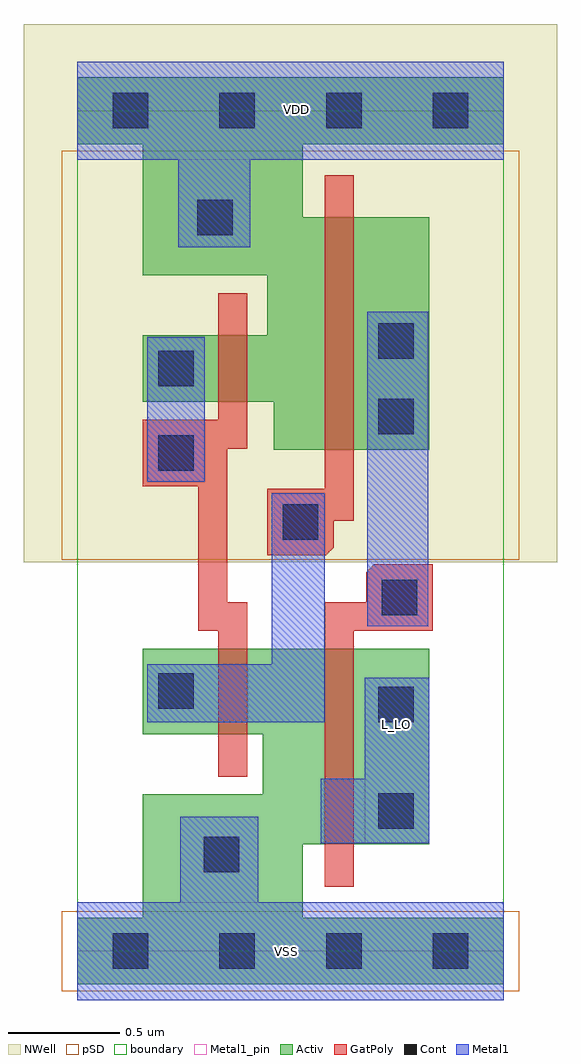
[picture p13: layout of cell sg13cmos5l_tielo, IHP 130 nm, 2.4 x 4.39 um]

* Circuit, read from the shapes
.subckt sg13cmos5l_tielo L_LO VDD VSS
XM1 VSS n1 n2 VSS sg13_lv_nmos w=0.385u l=0.13u
XM2 L_LO n3 VSS VSS sg13_lv_nmos w=0.88u l=0.13u
XM3 VDD n1 n1 VDD sg13_lv_pmos w=0.3u l=0.13u
XM4 n3 n2 VDD VDD sg13_lv_pmos w=1.045u l=0.13u
.ends

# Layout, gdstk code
import gdstk
lib = gdstk.Library(unit=1e-6, precision=1e-09)
def R(c, l, rs):  # rectangles x0, y0, x1, y1
    for r in rs: c.add(gdstk.rectangle(r[:2], r[2:], *l))
def P(c, l, *ps):  # polygons
    for p in ps: c.add(gdstk.Polygon(p, *l))
Activ = (1, 0)
GatPoly = (5, 0)
Cont = (6, 0)
Metal1 = (8, 0)
Metal1_pin = (8, 2)
pSD = (14, 0)
NWell = (31, 0)
boundary = (189, 4)

sg13cmos5l_tielo = lib.new_cell('sg13cmos5l_tielo')
P(sg13cmos5l_tielo, Activ, [(0.885,2.255),(0.885,2.47),(0.295,2.47),(0.295,2.77),(0.855,2.77),(0.855,3.04),(0.295,3.04),(0.295,3.63),(0,3.63),(0,3.93),(1.92,3.93),(1.92,3.63),(1.015,3.63),(1.015,3.3),(1.585,3.3),(1.585,2.255)],
  [(0,-0.15),(0,0.15),(0.295,0.15),(0.295,0.705),(0.835,0.705),(0.835,0.975),(0.295,0.975),(0.295,1.36),(1.585,1.36),(1.585,0.48),(1.015,0.48),(1.015,0.15),(1.92,0.15),(1.92,-0.15)])
P(sg13cmos5l_tielo, GatPoly, [(1.115,0.29),(1.115,1.57),(1.3,1.57),(1.3,1.705),(1.305,1.705),(1.305,1.71),(1.31,1.71),(1.31,1.715),(1.315,1.715),(1.315,1.72),(1.32,1.72),(1.32,1.725),(1.325,1.725),(1.325,1.73),(1.33,1.73),(1.33,1.735),(1.335,1.735),(1.335,1.74),(1.6,1.74),(1.6,1.44),(1.245,1.44),(1.245,0.29)],
  [(0.855,1.78),(0.855,2.08),(1.115,2.08),(1.115,3.49),(1.245,3.49),(1.245,1.935),(1.155,1.935),(1.155,1.815),(1.15,1.815),(1.15,1.81),(1.145,1.81),(1.145,1.805),(1.14,1.805),(1.14,1.8),(1.135,1.8),(1.135,1.795),(1.13,1.795),(1.13,1.79),(1.125,1.79),(1.125,1.785),(1.12,1.785),(1.12,1.78)],
  [(0.635,0.785),(0.635,1.44),(0.545,1.44),(0.545,2.09),(0.295,2.09),(0.295,2.39),(0.635,2.39),(0.635,2.96),(0.765,2.96),(0.765,2.26),(0.675,2.26),(0.675,1.57),(0.765,1.57),(0.765,0.785)])
R(sg13cmos5l_tielo, Cont, [(0.16,-0.08,0.32,0.08), (0.16,-0.08,0.32,0.08), (0.64,-0.08,0.8,0.08), (0.64,-0.08,0.8,0.08), (1.12,-0.08,1.28,0.08), (1.12,-0.08,1.28,0.08), (1.6,-0.08,1.76,0.08), (1.6,-0.08,1.76,0.08), (0.57,0.355,0.73,0.515), (1.355,0.55,1.515,0.71), (1.355,1.03,1.515,1.19), (0.365,1.09,0.525,1.25), (1.37,1.51,1.53,1.67), (0.925,1.85,1.085,2.01), (0.365,2.16,0.525,2.32), (1.355,2.325,1.515,2.485), (0.365,2.54,0.525,2.7), (1.355,2.665,1.515,2.825), (0.54,3.22,0.7,3.38), (0.16,3.7,0.32,3.86), (0.16,3.7,0.32,3.86), (0.64,3.7,0.8,3.86), (0.64,3.7,0.8,3.86), (1.12,3.7,1.28,3.86), (1.12,3.7,1.28,3.86), (1.6,3.7,1.76,3.86), (1.6,3.7,1.76,3.86)])
R(sg13cmos5l_tielo, Metal1, [(1.305,1.46,1.58,2.875), (0.315,2.11,0.575,2.76)])
P(sg13cmos5l_tielo, Metal1, [(1.095,0.485),(1.095,0.775),(1.295,0.775),(1.295,1.23),(1.585,1.23),(1.585,0.485)],
  [(0.455,3.165),(0.455,3.56),(0,3.56),(0,4),(1.92,4),(1.92,3.56),(0.78,3.56),(0.78,3.165)],
  [(0,-0.22),(0,0.22),(0.465,0.22),(0.465,0.605),(0.815,0.605),(0.815,0.22),(1.92,0.22),(1.92,-0.22)],
  [(0.315,1.03),(0.315,1.29),(0.875,1.29),(0.875,2.06),(1.115,2.06),(1.115,1.03)])
R(sg13cmos5l_tielo, Metal1_pin, [(0,-0.22,1.92,0.22), (1.295,0.485,1.585,1.23), (0,3.56,1.92,4)])
R(sg13cmos5l_tielo, pSD, [(-0.07,-0.18,1.99,0.18), (-0.07,1.76,1.99,3.6)])
R(sg13cmos5l_tielo, NWell, [(-0.24,1.75,2.16,4.17)])
R(sg13cmos5l_tielo, boundary, [(0,0,1.92,3.78)])
sg13cmos5l_tielo.add(gdstk.Label('L_LO', (1.435,1.02), layer=8, texttype=25))
sg13cmos5l_tielo.add(gdstk.Label('VDD', (0.985,3.785), layer=8, texttype=25))
sg13cmos5l_tielo.add(gdstk.Label('VSS', (0.94,0), layer=8, texttype=25))

lib.write_gds('sg13cmos5l_tielo.gds')
